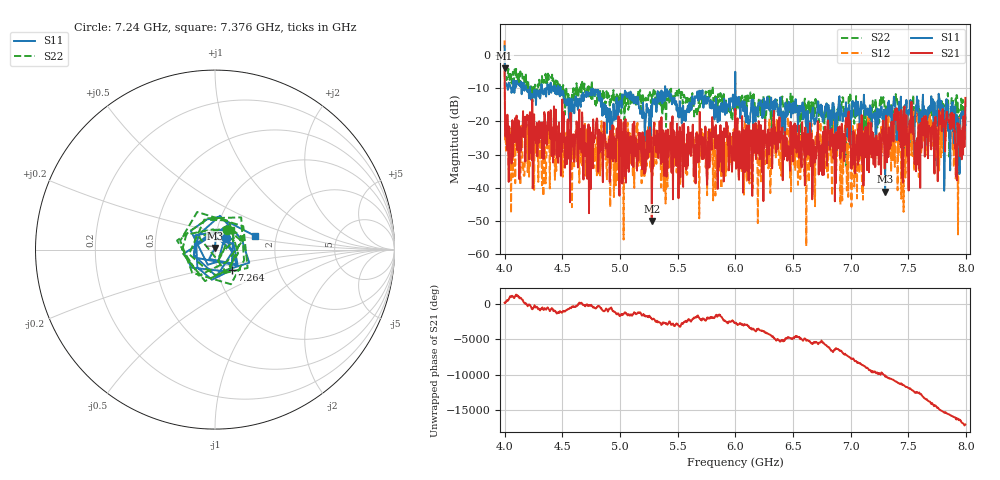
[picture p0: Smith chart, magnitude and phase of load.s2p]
# Hz S RI R 50
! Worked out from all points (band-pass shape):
!   1000 points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, 4 GHz to 7.996 GHz, reference 50 ohm
!   highest |S21| = -4.04 dB at 4 GHz (marker M1); lowest = -50.0 dB at 5.276 GHz (marker M2)
!   |S21| within 3 dB of the highest: start of sweep to 4.000728 GHz
!   lowest |S11| = -41.2 dB at 7.3 GHz (marker M3), VSWR 1.02, Z = 49.9 + j0.864 ohm
!   |S11| at or under -10 dB: 4.485 GHz to 5.391 GHz (906.2 MHz wide, 18.4 % of centre); 5.393 GHz to 5.998 GHz (605.3 MHz wide, 10.6 % of centre); 6.002 GHz to end of sweep (the widest 3 of 17)
!   |S22| runs from -33.5 to 0.6 dB; largest |S21 - S12| = 1.8
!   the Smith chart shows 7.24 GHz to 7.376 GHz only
!   S11 on the Smith chart (normalised r, x): 7.24 GHz: 1.12, +0.14; 7.264 GHz: 1.17, -0.27; 7.376 GHz: 1.55, +0.25
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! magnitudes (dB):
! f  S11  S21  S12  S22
! 4 GHz  2.6  -4.0  4.4  0.6
! 4.024 GHz  -9.9  -18.0  -26.6  -6.1
! 4.072 GHz  -10.0  -30.6  -36.8  -5.1
! 4.668 GHz  -12.0  -29.4  -26.4  -11.4
! 5.276 GHz  -18.7  -50.0  -24.9  -11.9
! 5.332 GHz  -14.3  -31.1  -29.9  -11.4
! 5.392 GHz  -9.4  -29.0  -34.1  -15.7
! 6 GHz  -5.1  -16.2  -8.3  -19.5
! 6.216 GHz  -15.0  -29.3  -33.3  -15.0
! 6.664 GHz  -19.2  -32.1  -23.5  -16.4
! 6.976 GHz  -18.6  -21.4  -28.7  -18.4
! 7.024 GHz  -15.4  -22.9  -27.0  -17.2
! 7.24 GHz  -21.0  -25.9  -26.1  -17.7
! 7.264 GHz  -16.7  -37.3  -21.7  -12.7
! 7.3 GHz  -41.2  -27.9  -22.6  -18.6
! 7.332 GHz  -13.8  -21.9  -30.4  -16.6
! 7.376 GHz  -12.6  -17.8  -24.7  -17.1
! 7.46 GHz  -17.1  -20.2  -47.3  -27.3
! 7.584 GHz  -14.5  -29.6  -20.6  -16.3
! 7.772 GHz  -13.4  -19.0  -27.8  -16.2
! 7.928 GHz  -34.6  -20.5  -22.4  -14.0
! 7.996 GHz  -21.1  -12.9  -19.1  -19.6
